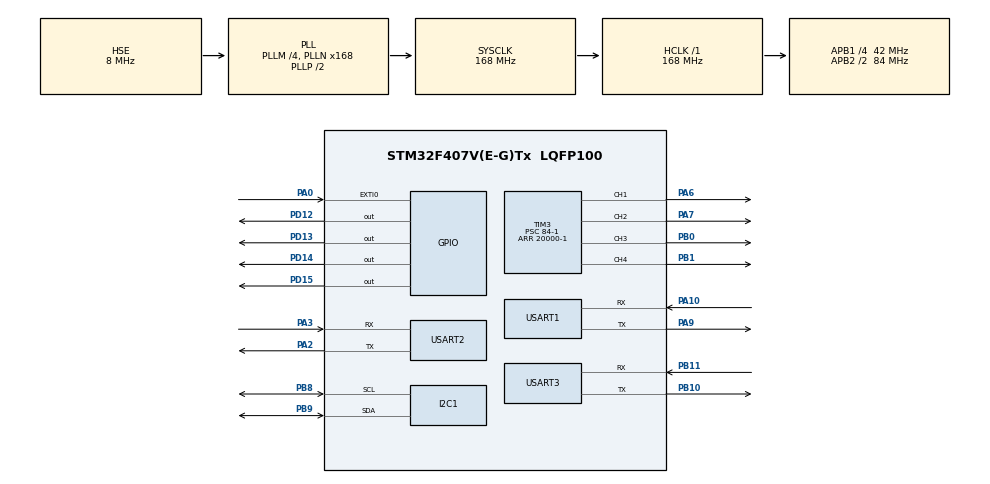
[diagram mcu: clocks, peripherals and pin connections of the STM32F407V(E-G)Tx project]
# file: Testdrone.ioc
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Mcu.Family=STM32F4
Mcu.Name=STM32F407V(E-G)Tx
Mcu.Package=LQFP100
NVIC.EXTI0_IRQn=true\:0\:0\:false\:false\:true\:true\:true\:true
NVIC.PriorityGroup=NVIC_PRIORITYGROUP_4
NVIC.TIM6_DAC_IRQn=true\:15\:0\:false\:false\:true\:false\:true\:true
NVIC.TimeBase=TIM6_DAC_IRQn
NVIC.TimeBaseIP=TIM6
PA0-WKUP.Signal=GPXTI0
PA10.Mode=Asynchronous
PA10.Signal=USART1_RX
PA13.Mode=Serial_Wire
PA13.Signal=SYS_JTMS-SWDIO
PA14.Mode=Serial_Wire
PA14.Signal=SYS_JTCK-SWCLK
PA2.Mode=Asynchronous
PA2.Signal=USART2_TX
PA3.Mode=Asynchronous
PA3.Signal=USART2_RX
PA6.Signal=S_TIM3_CH1
PA7.Signal=S_TIM3_CH2
PA9.Mode=Asynchronous
PA9.Signal=USART1_TX
PB0.Signal=S_TIM3_CH3
PB1.Signal=S_TIM3_CH4
PB10.Mode=Asynchronous
PB10.Signal=USART3_TX
PB11.Mode=Asynchronous
PB11.Signal=USART3_RX
PB8.Mode=I2C
PB8.Signal=I2C1_SCL
PB9.Mode=I2C
PB9.Signal=I2C1_SDA
PD12.Signal=GPIO_Output
PD13.Signal=GPIO_Output
PD14.Signal=GPIO_Output
PD15.Signal=GPIO_Output
PH0-OSC_IN.Mode=HSE-External-Oscillator
PH0-OSC_IN.Signal=RCC_OSC_IN
PH1-OSC_OUT.Mode=HSE-External-Oscillator
PH1-OSC_OUT.Signal=RCC_OSC_OUT
ProjectManager.HeapSize=0x200
ProjectManager.StackSize=0x400
ProjectManager.TargetToolchain=STM32CubeIDE
RCC.48MHZClocksFreq_Value=84000000
RCC.AHBFreq_Value=168000000
RCC.APB1CLKDivider=RCC_HCLK_DIV4
RCC.APB1Freq_Value=42000000
RCC.APB1TimFreq_Value=84000000
RCC.APB2CLKDivider=RCC_HCLK_DIV2
RCC.APB2Freq_Value=84000000
RCC.APB2TimFreq_Value=168000000
RCC.CortexFreq_Value=168000000
RCC.HCLKFreq_Value=168000000
RCC.HSE_VALUE=8000000
RCC.HSI_VALUE=16000000
RCC.LSE_VALUE=32768
RCC.PLLM=4
RCC.PLLN=168
RCC.PLLSourceVirtual=RCC_PLLSOURCE_HSE
RCC.SYSCLKFreq_VALUE=168000000
RCC.SYSCLKSource=RCC_SYSCLKSOURCE_PLLCLK
RCC.VCOOutputFreq_Value=336000000
SH.S_TIM3_CH1.0=TIM3_CH1,PWM Generation1 CH1
SH.S_TIM3_CH2.0=TIM3_CH2,PWM Generation2 CH2
SH.S_TIM3_CH3.0=TIM3_CH3,PWM Generation3 CH3
SH.S_TIM3_CH4.0=TIM3_CH4,PWM Generation4 CH4
TIM3.Channel-PWM\ Generation1\ CH1=TIM_CHANNEL_1
TIM3.Channel-PWM\ Generation2\ CH2=TIM_CHANNEL_2
TIM3.Channel-PWM\ Generation3\ CH3=TIM_CHANNEL_3
TIM3.Channel-PWM\ Generation4\ CH4=TIM_CHANNEL_4
TIM3.Period=20000-1
TIM3.Prescaler=84-1
TIM5.Period=0xFFFFFFFF
TIM5.TIM_MasterOutputTrigger=TIM_TRGO_ENABLE
USART1.VirtualMode=VM_ASYNC
USART2.VirtualMode=VM_ASYNC
USART3.VirtualMode=VM_ASYNC
VP_SYS_VS_tim6.Mode=TIM6
VP_TIM3_VS_ClockSourceINT.Mode=Internal
VP_TIM5_VS_ClockSourceINT.Mode=Internal
board=custom

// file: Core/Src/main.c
/* USER CODE BEGIN Header */
/**
  ******************************************************************************
  * @file           : main.c
  * @brief          : Main program body
  ******************************************************************************
  * @attention
  *
  * Copyright (c) 2025 STMicroelectronics.
  * All rights reserved.
  *
  * This software is licensed under terms that can be found in the LICENSE file
  * in the root directory of this software component.
  * If no LICENSE file comes with this software, it is provided AS-IS.
  *
  ******************************************************************************
  */
/* USER CODE END Header */
#include "main.h"

/* USER CODE BEGIN Includes */

#include "MPU6050.h"
#include "LowPassFilter.h"
#include "KalmanRollPitch.h"
#include "PIController.h"
#include "defines.h"
#include "PWMCTRL.h"
/* USER CODE END Includes */

I2C_HandleTypeDef hi2c1;

TIM_HandleTypeDef htim3;
TIM_HandleTypeDef htim5;

UART_HandleTypeDef huart1;
UART_HandleTypeDef huart2;// Pour debug via Serial
UART_HandleTypeDef huart3;

/* USER CODE BEGIN PV */

/* Peripherals */
MPU6050_t mpu6050;

/* Filters
LPFTwoPole lpfAcc[3];
LPFTwoPole lpfGyr[3];
LPFTwoPole lpfMag[3];
LPFTwoPole lpfRC[4];*/
/* Low-pass filters */
LPFTwoPole lpf_acc_x, lpf_acc_y, lpf_acc_z;
LPFTwoPole lpf_gyr_x, lpf_gyr_y, lpf_gyr_z;

/* State estimation */
KalmanRollPitch ekf;

/*
 *float psi;
float psiMag;*/

/* Controllers */
PIController ctrl_roll;
PIController ctrl_pitch;

/* ESC/Motor control */
ESC_CONF motors;
uint8_t motors_armed = 0;  // Safety flag
uint16_t pwm_fr, pwm_fl, pwm_rr, pwm_rl;

/* Timing variables */
uint32_t time_now = 0;
uint32_t time_prev_acc = 0;
uint32_t time_prev_gyr = 0;
uint32_t time_prev_ctrl = 0;
uint32_t time_prev_led = 0;

/* State variables */
float acc_raw[3] = {0};      // Accelerometer raw
float acc_filtered[3] = {0}; // Accelerometer filtered
float gyr_raw[3] = {0};      // Gyroscope raw
float gyr_filtered[3] = {0}; // Gyroscope filtered

float roll_est = 0.0f;       // Estimated roll (rad)
float pitch_est = 0.0f;      // Estimated pitch (rad)

float roll_setpoint = 0.0f;  // Desired roll (rad)
float pitch_setpoint = 0.0f; // Desired pitch (rad)

float ctrl_roll_output = 0.0f;
float ctrl_pitch_output = 0.0f;

/// still not develp
/* PWM input
volatile uint32_t pwmRisingEdgeStart[] = {0,0,0,0};
volatile uint32_t pwmOnPeriod[] = {0,0,0,0};
float rcThrottle, rcRoll, rcPitch, rcYaw;
uint8_t running = 0;*/

/* USER CODE END PV */

void SystemClock_Config(void);
static void MX_GPIO_Init(void);
static void MX_I2C1_Init(void);
static void MX_TIM3_Init(void);
static void MX_TIM5_Init(void);
static void MX_USART1_UART_Init(void);
static void MX_USART2_UART_Init(void);
static void MX_USART3_UART_Init(void);

/*  channel 1 interrupt
void EXTI0_IRQHandler(void)
{
    // Vérifier que l'interruption concerne bien Pin 0
    if (__HAL_GPIO_EXTI_GET_IT(GPIO_PIN_0) != RESET)
    {
        // Clear l'interruption
        __HAL_GPIO_EXTI_CLEAR_IT(GPIO_PIN_0);

        // Allumer toutes les LED (ou tu peux faire toggle)
        HAL_GPIO_WritePin(GPIOD, GPIO_PIN_12|GPIO_PIN_13|GPIO_PIN_14|GPIO_PIN_15, GPIO_PIN_SET);

        // Si tu veux toggle à chaque front :
        // HAL_GPIO_TogglePin(GPIOD, GPIO_PIN_12|GPIO_PIN_13|GPIO_PIN_14|GPIO_PIN_15);
    }
    // Optionnel : appeler le handler HAL pour compatibilité
    HAL_GPIO_EXTI_IRQHandler(GPIO_PIN_0);
}
*/
uint8_t rx_byte;

/*void HAL_UART_RxCpltCallback(UART_HandleTypeDef *huart)
{
    if (huart->Instance == USART2)   // Si tu utilises UART2
    {
        switch (rx_byte)
        {
            case 'A':   // ARM
                motors_armed = 1;
                printf("Motors ARMED !\r\n");
                break;

            case 'D':   // DISARM
                motors_armed = 0;
                printf("Motors DISARMED !\r\n");
                break;

            default:
                printf("Unknown command: %c\r\n", rx_byte);
                break;
        }

        // Relancer la réception
        HAL_UART_Receive_IT(&huart2, &rx_byte, 1);
    }
}*/

/* Function prototypes */
void SystemClock_Config(void);
static void MX_GPIO_Init(void);
static void MX_I2C1_Init(void);
static void MX_USART2_UART_Init(void);
void Error_Handler(void);

void Sensors_Init(void);
void Filters_Init(void);
void Kalman_Init(void);
void Controllers_Init(void);

void Read_Sensors(void);
void Update_Kalman(void);
void Update_Controllers(void);
void Debug_Print(void);
int main(void)
{

  /* MCU Configuration--------------------------------------------------------*/

  /* Reset of all peripherals, Initializes the Flash interface and the Systick. */
  HAL_Init();

  /* Configure the system clock */
  SystemClock_Config();

  /* Initialize all configured peripherals */
  MX_GPIO_Init();
  MX_I2C1_Init();
  MX_TIM3_Init();
  MX_TIM5_Init();
  MX_USART1_UART_Init();
  MX_USART2_UART_Init();
  MX_USART3_UART_Init();
  /* USER CODE BEGIN 2 */

  /* Enable TIM5 for elapsed microseconds count (reading PWM RC input) */
  /*
   *
   *
   *  __HAL_RCC_TIM5_CLK_ENABLE();
    TIM5->PSC = HAL_RCC_GetPCLK1Freq()/1000000 - 1;
    TIM5->CR1 = TIM_CR1_CEN;
    TIM5->ARR = 0xFFFFFFFF;
    TIM5->CNT = 0xFFFFFFFE;  //Dirty fix... PWM values are only correct once timer overruns once. */
  /* Wait for sensor stabilization */
      HAL_Delay(100);

      /* Initialize modules */
      Sensors_Init();
      Filters_Init();
      Kalman_Init();
      Controllers_Init();
      //Motors_Init();  // Initialize ESC/Motors
      ESC_Init(&motors);
      ESC_Calibrate(&motors);
      printf("System initialized successfully!\r\n");
      printf("Starting main loop...\r\n\r\n");

      /* Initialize timing */
      time_prev_acc = HAL_GetTick();
      time_prev_gyr = HAL_GetTick();
      time_prev_ctrl = HAL_GetTick();
      time_prev_led = HAL_GetTick();

      //HAL_UART_Receive_IT(&huart2, &rx_byte, 1);

  /* USER CODE END 2 */

  /* Infinite loop */
  /* USER CODE BEGIN WHILE */
  while (1)
      {
	    /*__HAL_TIM_SET_COMPARE(&htim3, TIM_CHANNEL_1, 1100);

	    HAL_Delay(4000);

	    __HAL_TIM_SET_COMPARE(&htim3, TIM_CHANNEL_2, 1100);

	   	HAL_Delay(4000);

	   	__HAL_TIM_SET_COMPARE(&htim3, TIM_CHANNEL_3, 1100);

	   	HAL_Delay(4000);

	   	__HAL_TIM_SET_COMPARE(&htim3, TIM_CHANNEL_4, 1100);

	   	HAL_Delay(4000);*/
          time_now = HAL_GetTick();

          //Read and filter accelerometer (16ms)
          if (time_now - time_prev_acc >= SAMPLE_TIME_ACC_MS) {
              time_prev_acc = time_now;

              MPU6050_Read_Accel(&hi2c1, &mpu6050);

              // Apply calibration
              // MPU6050 retourne en 'g', on convertit en m/s²
              acc_raw[0] = ((mpu6050.Ax - CALIB_ACC_BIAS_X) * CALIB_ACC_SCALE_X) * 9.81f;
              acc_raw[1] = ((mpu6050.Ay - CALIB_ACC_BIAS_Y) * CALIB_ACC_SCALE_Y) * 9.81f;
              acc_raw[2] = ((mpu6050.Az - CALIB_ACC_BIAS_Z) * CALIB_ACC_SCALE_Z) * 9.81f;

              // Apply low-pass filter
              acc_filtered[0] = LPFTwoPole_Update(&lpf_acc_x, acc_raw[0]);
              acc_filtered[1] = LPFTwoPole_Update(&lpf_acc_y, acc_raw[1]);
              acc_filtered[2] = LPFTwoPole_Update(&lpf_acc_z, acc_raw[2]);
          }

          // Read and filter gyroscope (10ms)
          if (time_now - time_prev_gyr >= SAMPLE_TIME_GYR_MS) {
              time_prev_gyr = time_now;

              MPU6050_Read_Gyro(&hi2c1, &mpu6050);

              // Convert to rad/s
              gyr_raw[0] = mpu6050.Gx * DEG_TO_RAD;
              gyr_raw[1] = mpu6050.Gy * DEG_TO_RAD;
              gyr_raw[2] = mpu6050.Gz * DEG_TO_RAD;

              // Apply low-pass filter
              gyr_filtered[0] = LPFTwoPole_Update(&lpf_gyr_x, gyr_raw[0]);
              gyr_filtered[1] = LPFTwoPole_Update(&lpf_gyr_y, gyr_raw[1]);
              gyr_filtered[2] = LPFTwoPole_Update(&lpf_gyr_z, gyr_raw[2]);

              // Update Kalman filter
              Update_Kalman();
          }

          // Update controllers (4ms)
          if (time_now - time_prev_ctrl >= SAMPLE_TIME_CTRL_MS) {
              time_prev_ctrl = time_now;

              Update_Controllers();
              motors_armed = 1;
              motors.state = ARMED;
              Update_Motors();  // Apply PWM to motors
          }

          // Debug print (500ms)
          if (time_now - time_prev_led >= SAMPLE_TIME_LED_MS) {
              time_prev_led = time_now;

              // Toggle all 4 LEDs on GPIOD (PD12, PD13, PD14, PD15)

              HAL_GPIO_TogglePin(GPIOD, GPIO_PIN_12 | GPIO_PIN_13 | GPIO_PIN_14 | GPIO_PIN_15);
              Debug_Print();
          }
  }
    /* USER CODE END WHILE */

}
/* Initialize sensors */
void Sensors_Init(void)
{
    if (MPU6050_Init(&hi2c1) == 0) {
        printf("MPU6050 initialized successfully!\r\n");
    } else {
        printf("ERROR: MPU6050 initialization failed!\r\n");
        Error_Handler();
    }
}

/* Initialize low-pass filters */
void Filters_Init(void)
{
    // Accelerometer filters (10 Hz cutoff, 16ms sample time)
    LPFTwoPole_Init(&lpf_acc_x, LPF_TYPE_BESSEL, LPF_ACC_CUTOFF_HZ, SAMPLE_TIME_ACC_MS / 1000.0f);
    LPFTwoPole_Init(&lpf_acc_y, LPF_TYPE_BESSEL, LPF_ACC_CUTOFF_HZ, SAMPLE_TIME_ACC_MS / 1000.0f);
    LPFTwoPole_Init(&lpf_acc_z, LPF_TYPE_BESSEL, LPF_ACC_CUTOFF_HZ, SAMPLE_TIME_ACC_MS / 1000.0f);

    // Gyroscope filters (32 Hz cutoff, 10ms sample time)
    LPFTwoPole_Init(&lpf_gyr_x, LPF_TYPE_BESSEL, LPF_GYR_CUTOFF_HZ, SAMPLE_TIME_GYR_MS / 1000.0f);
    LPFTwoPole_Init(&lpf_gyr_y, LPF_TYPE_BESSEL, LPF_GYR_CUTOFF_HZ, SAMPLE_TIME_GYR_MS / 1000.0f);
    LPFTwoPole_Init(&lpf_gyr_z, LPF_TYPE_BESSEL, LPF_GYR_CUTOFF_HZ, SAMPLE_TIME_GYR_MS / 1000.0f);

    printf("Low-pass filters initialized!\r\n");
}

/* Initialize Kalman filter */
void Kalman_Init(void)
{
    float Q[2] = {EKF_N_GYR, EKF_N_GYR};  // Process noise
    float R[3] = {EKF_N_ACC, EKF_N_ACC, EKF_N_ACC};  // Measurement noise

    KalmanRollPitch_Init(&ekf, EKF_P_INIT, Q, R);

    printf("Kalman filter initialized!\r\n");
}

/* Initialize PI controllers */
void Controllers_Init(void)
{
    // Roll controller
    PI_Init(&ctrl_roll, CTRL_ROLL_P, CTRL_ROLL_I,
            CTRL_ROLL_LIM_MIN, CTRL_ROLL_LIM_MAX);

    // Pitch controller
    PI_Init(&ctrl_pitch, CTRL_PITCH_P, CTRL_PITCH_I,
            CTRL_PITCH_LIM_MIN, CTRL_PITCH_LIM_MAX);

    printf("PI controllers initialized!\r\n");
}

/* Update Kalman filter */
void Update_Kalman(void)
{
    float dt = SAMPLE_TIME_GYR_MS / 1000.0f;  // 10ms = 0.01s  // ???????????????????????????

    // Predict step (using gyroscope)
    KalmanRollPitch_Predict(&ekf, gyr_filtered, dt);

    // Update step (using accelerometer)
    float Va = 0.0f;  // No airspeed sensor
    uint8_t success = KalmanRollPitch_Update(&ekf, acc_filtered, Va);

    if (success) {
        roll_est = ekf.phi;      // Roll in radians
        pitch_est = ekf.theta;   // Pitch in radians
    }
}

/* Update PI controllers */
void Update_Controllers(void)
{
    float dt = SAMPLE_TIME_CTRL_MS / 1000.0f;  // 4ms = 0.004s // ???????????????????????????

    // TEST: Set fixed setpoints (0 degrees = level flight)// ?????????????????????????????
    roll_setpoint = 0.0f * DEG_TO_RAD;   // 0 degrees
    pitch_setpoint = 0.0f * DEG_TO_RAD;  // 0 degrees

    // Update roll controller
    ctrl_roll_output = PI_Update(&ctrl_roll, roll_setpoint, roll_est, dt);

    // Update pitch controller
    ctrl_pitch_output = PI_Update(&ctrl_pitch, pitch_setpoint, pitch_est, dt);

    // TODO: Apply PWM outputs here when implemented
}

/* Update Motors based on controller outputs */
void Update_Motors(void)
{
    // SAFETY CHECK: Verify angles are safe
    float roll_deg = roll_est * RAD_TO_DEG;
    float pitch_deg = pitch_est * RAD_TO_DEG;

    if (!ESC_SafetyCheck(&motors, roll_deg, pitch_deg)) {
        // Unsafe angles detected - motors already stopped by SafetyCheck
        motors_armed = 0;
        return;
    }

    // If not armed, ensure motors are stopped
    if (motors_armed == 0) {
        ESC_Disarm(&motors);
        ESC_SetSpeed(&motors);
        return;
    }

    // Base throttle (for testing, start with 0)
    int16_t throttle = 50;  // TODO: Add RC input later

    // Update motor commands based on controller outputs
    // ctrl_roll_output and ctrl_pitch_output are in rad/s from PI controllers
    ESC_UpdateCommands(&motors, throttle, ctrl_roll_output, ctrl_pitch_output, 0.0f);

    // Apply PWM to motors
    ESC_SetSpeed(&motors);
}
/* Debug print to serial, including raw and filtered values */
void Debug_Print(void)
{
    printf("\r\n===== SENSOR DATA =====\r\n");

    printf("ACC RAW en g :      X=%.2f  Y=%.2f  Z=%.2f g\r\n",
    		mpu6050.Ax, mpu6050.Ay, mpu6050.Az);
    printf("ACC RAW+Calib en m/s² : X=%.2f  Y=%.2f  Z=%.2f m/s²\r\n",
    		acc_raw[0], acc_raw[1], acc_raw[2]);
    printf("ACC FILTERED: X=%.2f  Y=%.2f  Z=%.2f m/s²\r\n",
           acc_filtered[0], acc_filtered[1], acc_filtered[2]);

    printf("GYR RAW en d/s :      X=%.2f  Y=%.2f  Z=%.2f d/s\r\n",
    		mpu6050.Gx, mpu6050.Gy, mpu6050.Gz);
    printf("GYR RAW en rad/s : X=%.2f  Y=%.2f  Z=%.2f rad/s\r\n",
        		gyr_raw[0], gyr_raw[1], gyr_raw[2]);
    printf("GYR FILTERED: X=%.2f  Y=%.2f  Z=%.2f rad/s\r\n",
           gyr_filtered[0], gyr_filtered[1], gyr_filtered[2]);

    printf("\r\n===== KALMAN ESTIMATES =====\r\n");
    printf("Roll:  %.2f°  |  Pitch: %.2f°\r\n",
           roll_est * RAD_TO_DEG,
           pitch_est * RAD_TO_DEG);

    printf("\r\n===== CONTROLLER OUTPUTS =====\r\n");
    printf("Ctrl_Roll:  %.2f  |  Ctrl_Pitch: %.2f\r\n",
           ctrl_roll_output,
           ctrl_pitch_output);

    printf("\r\n===== MOTOR COMMANDS =====\r\n");
        printf("FR: %4d  FL: %4d  RR: %4d  RL: %4d  [%s]\r\n",
               motors.FR, motors.FL, motors.RR, motors.RL,
               motors_armed ? "ARMED" : "DISARMED");
        printf("\r\n===== MOTOR PWM OUTPUT =====\r\n");
        printf("PWM_FR: %4d  |  PWM_FL: %4d\r\n", pwm_fr, pwm_fl);
        printf("PWM_RR: %4d  |  PWM_RL: %4d\r\n", pwm_rr, pwm_rl);
        printf("PWM RANGE: [%d - %d]\r\n", PWM_MIN_US, PWM_MAX_US);

    printf("===============================\r\n\r\n");
}

/* Printf redirection to UART */
int _write(int file, char *ptr, int len)
{
    HAL_UART_Transmit(&huart2, (uint8_t*)ptr, len, HAL_MAX_DELAY);
    return len;
}
void SystemClock_Config(void)
{
  RCC_OscInitTypeDef RCC_OscInitStruct = {0};
  RCC_ClkInitTypeDef RCC_ClkInitStruct = {0};

  /** Configure the main internal regulator output voltage
  */
  __HAL_RCC_PWR_CLK_ENABLE();
  __HAL_PWR_VOLTAGESCALING_CONFIG(PWR_REGULATOR_VOLTAGE_SCALE1);

  /** Initializes the RCC Oscillators according to the specified parameters
  * in the RCC_OscInitTypeDef structure.
  */
  RCC_OscInitStruct.OscillatorType = RCC_OSCILLATORTYPE_HSE;
  RCC_OscInitStruct.HSEState = RCC_HSE_ON;
  RCC_OscInitStruct.PLL.PLLState = RCC_PLL_ON;
  RCC_OscInitStruct.PLL.PLLSource = RCC_PLLSOURCE_HSE;
  RCC_OscInitStruct.PLL.PLLM = 4;
  RCC_OscInitStruct.PLL.PLLN = 168;
  RCC_OscInitStruct.PLL.PLLP = RCC_PLLP_DIV2;
  RCC_OscInitStruct.PLL.PLLQ = 4;
  if (HAL_RCC_OscConfig(&RCC_OscInitStruct) != HAL_OK)
  {
    Error_Handler();
  }

  /** Initializes the CPU, AHB and APB buses clocks
  */
  RCC_ClkInitStruct.ClockType = RCC_CLOCKTYPE_HCLK|RCC_CLOCKTYPE_SYSCLK
                              |RCC_CLOCKTYPE_PCLK1|RCC_CLOCKTYPE_PCLK2;
  RCC_ClkInitStruct.SYSCLKSource = RCC_SYSCLKSOURCE_PLLCLK;
  RCC_ClkInitStruct.AHBCLKDivider = RCC_SYSCLK_DIV1;
  RCC_ClkInitStruct.APB1CLKDivider = RCC_HCLK_DIV4;
  RCC_ClkInitStruct.APB2CLKDivider = RCC_HCLK_DIV2;

  if (HAL_RCC_ClockConfig(&RCC_ClkInitStruct, FLASH_LATENCY_5) != HAL_OK)
  {
    Error_Handler();
  }
}

static void MX_I2C1_Init(void)
{

  hi2c1.Instance = I2C1;
  hi2c1.Init.ClockSpeed = 100000;
  hi2c1.Init.DutyCycle = I2C_DUTYCYCLE_2;
  hi2c1.Init.OwnAddress1 = 0;
  hi2c1.Init.AddressingMode = I2C_ADDRESSINGMODE_7BIT;
  hi2c1.Init.DualAddressMode = I2C_DUALADDRESS_DISABLE;
  hi2c1.Init.OwnAddress2 = 0;
  hi2c1.Init.GeneralCallMode = I2C_GENERALCALL_DISABLE;
  hi2c1.Init.NoStretchMode = I2C_NOSTRETCH_DISABLE;
  if (HAL_I2C_Init(&hi2c1) != HAL_OK)
  {
    Error_Handler();
  }

}

static void MX_TIM3_Init(void)
{

  TIM_ClockConfigTypeDef sClockSourceConfig = {0};
  TIM_MasterConfigTypeDef sMasterConfig = {0};
  TIM_OC_InitTypeDef sConfigOC = {0};

  htim3.Instance = TIM3;
  htim3.Init.Prescaler = 84-1;
  htim3.Init.CounterMode = TIM_COUNTERMODE_UP;
  htim3.Init.Period = 20000-1;
  htim3.Init.ClockDivision = TIM_CLOCKDIVISION_DIV1;
  htim3.Init.AutoReloadPreload = TIM_AUTORELOAD_PRELOAD_DISABLE;
  if (HAL_TIM_Base_Init(&htim3) != HAL_OK)
  {
    Error_Handler();
  }
  sClockSourceConfig.ClockSource = TIM_CLOCKSOURCE_INTERNAL;
  if (HAL_TIM_ConfigClockSource(&htim3, &sClockSourceConfig) != HAL_OK)
  {
    Error_Handler();
  }
  if (HAL_TIM_PWM_Init(&htim3) != HAL_OK)
  {
    Error_Handler();
  }
  sMasterConfig.MasterOutputTrigger = TIM_TRGO_RESET;
  sMasterConfig.MasterSlaveMode = TIM_MASTERSLAVEMODE_DISABLE;
  if (HAL_TIMEx_MasterConfigSynchronization(&htim3, &sMasterConfig) != HAL_OK)
  {
    Error_Handler();
  }
  sConfigOC.OCMode = TIM_OCMODE_PWM1;
  sConfigOC.Pulse = 0;
  sConfigOC.OCPolarity = TIM_OCPOLARITY_HIGH;
  sConfigOC.OCFastMode = TIM_OCFAST_DISABLE;
  if (HAL_TIM_PWM_ConfigChannel(&htim3, &sConfigOC, TIM_CHANNEL_1) != HAL_OK)
  {
    Error_Handler();
  }
  if (HAL_TIM_PWM_ConfigChannel(&htim3, &sConfigOC, TIM_CHANNEL_2) != HAL_OK)
  {
    Error_Handler();
  }
  if (HAL_TIM_PWM_ConfigChannel(&htim3, &sConfigOC, TIM_CHANNEL_3) != HAL_OK)
  {
    Error_Handler();
  }
  if (HAL_TIM_PWM_ConfigChannel(&htim3, &sConfigOC, TIM_CHANNEL_4) != HAL_OK)
  {
    Error_Handler();
  }
  HAL_TIM_MspPostInit(&htim3);

}

static void MX_TIM5_Init(void)
{

  TIM_ClockConfigTypeDef sClockSourceConfig = {0};
  TIM_MasterConfigTypeDef sMasterConfig = {0};

  htim5.Instance = TIM5;
  htim5.Init.Prescaler = 0;
  htim5.Init.CounterMode = TIM_COUNTERMODE_UP;
  htim5.Init.Period = 0xFFFFFFFF;
  htim5.Init.ClockDivision = TIM_CLOCKDIVISION_DIV1;
  htim5.Init.AutoReloadPreload = TIM_AUTORELOAD_PRELOAD_DISABLE;
  if (HAL_TIM_Base_Init(&htim5) != HAL_OK)
  {
    Error_Handler();
  }
  sClockSourceConfig.ClockSource = TIM_CLOCKSOURCE_INTERNAL;
  if (HAL_TIM_ConfigClockSource(&htim5, &sClockSourceConfig) != HAL_OK)
  {
    Error_Handler();
  }
  sMasterConfig.MasterOutputTrigger = TIM_TRGO_ENABLE;
  sMasterConfig.MasterSlaveMode = TIM_MASTERSLAVEMODE_DISABLE;
  if (HAL_TIMEx_MasterConfigSynchronization(&htim5, &sMasterConfig) != HAL_OK)
  {
    Error_Handler();
  }

}

static void MX_USART1_UART_Init(void)
{

  huart1.Instance = USART1;
  huart1.Init.BaudRate = 115200;
  huart1.Init.WordLength = UART_WORDLENGTH_8B;
  huart1.Init.StopBits = UART_STOPBITS_1;
  huart1.Init.Parity = UART_PARITY_NONE;
  huart1.Init.Mode = UART_MODE_TX_RX;
  huart1.Init.HwFlowCtl = UART_HWCONTROL_NONE;
  huart1.Init.OverSampling = UART_OVERSAMPLING_16;
  if (HAL_UART_Init(&huart1) != HAL_OK)
  {
    Error_Handler();
  }

}

static void MX_USART2_UART_Init(void)
{

  huart2.Instance = USART2;
  huart2.Init.BaudRate = 115200;
  huart2.Init.WordLength = UART_WORDLENGTH_8B;
  huart2.Init.StopBits = UART_STOPBITS_1;
  huart2.Init.Parity = UART_PARITY_NONE;
  huart2.Init.Mode = UART_MODE_TX_RX;
  huart2.Init.HwFlowCtl = UART_HWCONTROL_NONE;
  huart2.Init.OverSampling = UART_OVERSAMPLING_16;
  if (HAL_UART_Init(&huart2) != HAL_OK)
  {
    Error_Handler();
  }

}

static void MX_USART3_UART_Init(void)
{

  huart3.Instance = USART3;
  huart3.Init.BaudRate = 115200;
  huart3.Init.WordLength = UART_WORDLENGTH_8B;
  huart3.Init.StopBits = UART_STOPBITS_1;
  huart3.Init.Parity = UART_PARITY_NONE;
  huart3.Init.Mode = UART_MODE_TX_RX;
  huart3.Init.HwFlowCtl = UART_HWCONTROL_NONE;
  huart3.Init.OverSampling = UART_OVERSAMPLING_16;
  if (HAL_UART_Init(&huart3) != HAL_OK)
  {
    Error_Handler();
  }

}

static void MX_GPIO_Init(void)
{
  GPIO_InitTypeDef GPIO_InitStruct = {0};

  /* GPIO Ports Clock Enable */
  __HAL_RCC_GPIOH_CLK_ENABLE();
  __HAL_RCC_GPIOA_CLK_ENABLE();
  __HAL_RCC_GPIOB_CLK_ENABLE();
  __HAL_RCC_GPIOD_CLK_ENABLE();

  /*Configure GPIO pin Output Level */
  HAL_GPIO_WritePin(GPIOD, GPIO_PIN_12|GPIO_PIN_13|GPIO_PIN_14|GPIO_PIN_15, GPIO_PIN_RESET);

  /*Configure GPIO pin : PA0 */
  GPIO_InitStruct.Pin = GPIO_PIN_0;
  GPIO_InitStruct.Mode = GPIO_MODE_IT_RISING;
  GPIO_InitStruct.Pull = GPIO_NOPULL;
  HAL_GPIO_Init(GPIOA, &GPIO_InitStruct);

  /*Configure GPIO pins : PD12 PD13 PD14 PD15 */
  GPIO_InitStruct.Pin = GPIO_PIN_12|GPIO_PIN_13|GPIO_PIN_14|GPIO_PIN_15;
  GPIO_InitStruct.Mode = GPIO_MODE_OUTPUT_PP;
  GPIO_InitStruct.Pull = GPIO_NOPULL;
  GPIO_InitStruct.Speed = GPIO_SPEED_FREQ_LOW;
  HAL_GPIO_Init(GPIOD, &GPIO_InitStruct);

  /* EXTI interrupt init*/
  HAL_NVIC_SetPriority(EXTI0_IRQn, 0, 0);
  HAL_NVIC_EnableIRQ(EXTI0_IRQn);

}

void HAL_TIM_PeriodElapsedCallback(TIM_HandleTypeDef *htim)
{
  if (htim->Instance == TIM6) {
    HAL_IncTick();
  }
}

void Error_Handler(void)
{
  __disable_irq();
  while (1)
  {
  }
}
